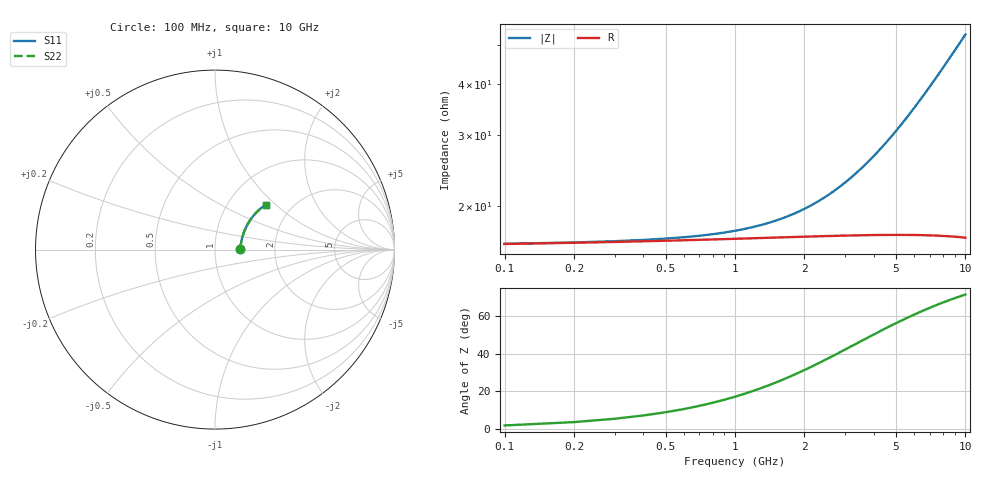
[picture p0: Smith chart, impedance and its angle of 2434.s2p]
# Hz S RI R 50.00
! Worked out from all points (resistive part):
!   100 points, 100 MHz to 10 GHz, reference 50 ohm
!   read as one part in series: R = 16.1 ohm at 100 MHz
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1e8  0.1391 0.00318  0.8609 -0.0044  0.8609 -0.0044  0.1391 0.00318
7e8  0.1427 0.022  0.8573 -0.0306  0.8573 -0.0306  0.1427 0.022
1e9  0.1442 0.0314  0.8557 -0.0436  0.8557 -0.0436  0.1442 0.0314
1.2e9  0.1454 0.0376  0.8545 -0.0523  0.8545 -0.0523  0.1454 0.0376
1.4e9  0.1465 0.0437  0.8533 -0.0609  0.8533 -0.0609  0.1465 0.0437
1.8e9  0.1492 0.056  0.8505 -0.078  0.8505 -0.078  0.1492 0.056
2.1e9  0.1514 0.0651  0.8482 -0.0908  0.8482 -0.0908  0.1514 0.0651
2.5e9  0.1548 0.0771  0.8447 -0.1077  0.8447 -0.1077  0.1548 0.0771
3.4e9  0.1639 0.1034  0.8352 -0.145  0.8352 -0.145  0.1639 0.1034
4.3e9  0.175 0.1285  0.8235 -0.1812  0.8235 -0.1812  0.175 0.1285
5.1e9  0.1866 0.1498  0.8113 -0.2123  0.8113 -0.2123  0.1866 0.1498
5.5e9  0.193 0.16  0.8046 -0.2274  0.8046 -0.2274  0.193 0.16
5.9e9  0.1997 0.1698  0.7975 -0.2422  0.7975 -0.2422  0.1997 0.1698
6.3e9  0.2067 0.1794  0.7901 -0.2566  0.7901 -0.2566  0.2067 0.1794
6.7e9  0.214 0.1886  0.7823 -0.2708  0.7823 -0.2708  0.214 0.1886
7.1e9  0.2217 0.1974  0.7742 -0.2846  0.7742 -0.2846  0.2217 0.1974
7.5e9  0.2296 0.2059  0.7658 -0.298  0.7658 -0.298  0.2296 0.2059
7.9e9  0.2378 0.2141  0.7572 -0.3111  0.7572 -0.3111  0.2378 0.2141
8.4e9  0.2483 0.2237  0.746 -0.3269  0.746 -0.3269  0.2483 0.2237
8.8e9  0.257 0.231  0.7367 -0.3392  0.7367 -0.3392  0.257 0.231
9.2e9  0.2658 0.2379  0.7273 -0.351  0.7273 -0.351  0.2658 0.2379
1e10  0.284 0.2505  0.7078 -0.3736  0.7078 -0.3736  0.284 0.2505
